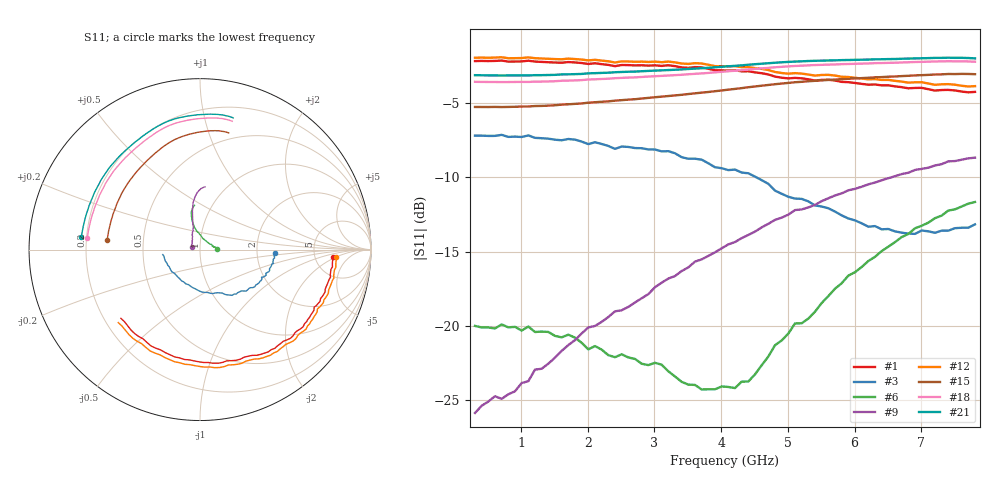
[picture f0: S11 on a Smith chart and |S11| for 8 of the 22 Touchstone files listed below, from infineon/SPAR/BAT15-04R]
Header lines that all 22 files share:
! Infineon Technologies  Discrete & RF Semiconductors
! BAT15-04R
! One-Port S-Parameters
# Hz  S  MA  R  50
!f  S11
!Hz  Mag  Ang
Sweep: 309.9 MHz to 7.806 GHz
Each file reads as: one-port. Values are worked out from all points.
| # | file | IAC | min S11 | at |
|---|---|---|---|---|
| 1 | BAT15-04R_IAC_0.1mA.s1p | 0.1 mA | -4.3 dB | 7.706 GHz |
| 2 | BAT15-04R_IAC_0.2mA.s1p | 0.2 mA | -8.6 dB | 7.706 GHz |
| 3 | BAT15-04R_IAC_0.3mA.s1p | 0.3 mA | -13.8 dB | 6.907 GHz |
| 4 | BAT15-04R_IAC_0.4mA.s1p | 0.4 mA | -22.1 dB | 6.207 GHz |
| 5 | BAT15-04R_IAC_0.5mA.s1p | 0.5 mA | -40.6 dB | 5.307 GHz |
| 6 | BAT15-04R_IAC_0.6mA.s1p | 0.6 mA | -24.3 dB | 3.708 GHz |
| 7 | BAT15-04R_IAC_0.7mA.s1p | 0.7 mA | -32.6 dB | 309.9 MHz |
| 8 | BAT15-04R_IAC_0.07mA.s1p | 0.07 mA | -3.1 dB | 7.706 GHz |
| 9 | BAT15-04R_IAC_0.8mA.s1p | 0.8 mA | -25.8 dB | 309.9 MHz |
| 10 | BAT15-04R_IAC_0.08mA.s1p | 0.08 mA | -3.5 dB | 7.706 GHz |
| 11 | BAT15-04R_IAC_0.9mA.s1p | 0.9 mA | -19.3 dB | 309.9 MHz |
| 12 | BAT15-04R_IAC_0.09mA.s1p | 0.09 mA | -3.9 dB | 7.706 GHz |
| 13 | BAT15-04R_IAC_1mA.s1p | 1 mA | -16.0 dB | 309.9 MHz |
| 14 | BAT15-04R_IAC_2mA.s1p | 2 mA | -7.2 dB | 309.9 MHz |
| 15 | BAT15-04R_IAC_3mA.s1p | 3 mA | -5.3 dB | 709.6 MHz |
| 16 | BAT15-04R_IAC_4mA.s1p | 4 mA | -4.4 dB | 709.6 MHz |
| 17 | BAT15-04R_IAC_5mA.s1p | 5 mA | -3.9 dB | 709.6 MHz |
| 18 | BAT15-04R_IAC_6mA.s1p | 6 mA | -3.6 dB | 709.6 MHz |
| 19 | BAT15-04R_IAC_7mA.s1p | 7 mA | -3.4 dB | 709.6 MHz |
| 20 | BAT15-04R_IAC_8mA.s1p | 8 mA | -3.2 dB | 709.6 MHz |
| 21 | BAT15-04R_IAC_9mA.s1p | 9 mA | -3.1 dB | 709.6 MHz |
| 22 | BAT15-04R_IAC_10mA.s1p | 10 mA | -3.1 dB | 709.6 MHz |
